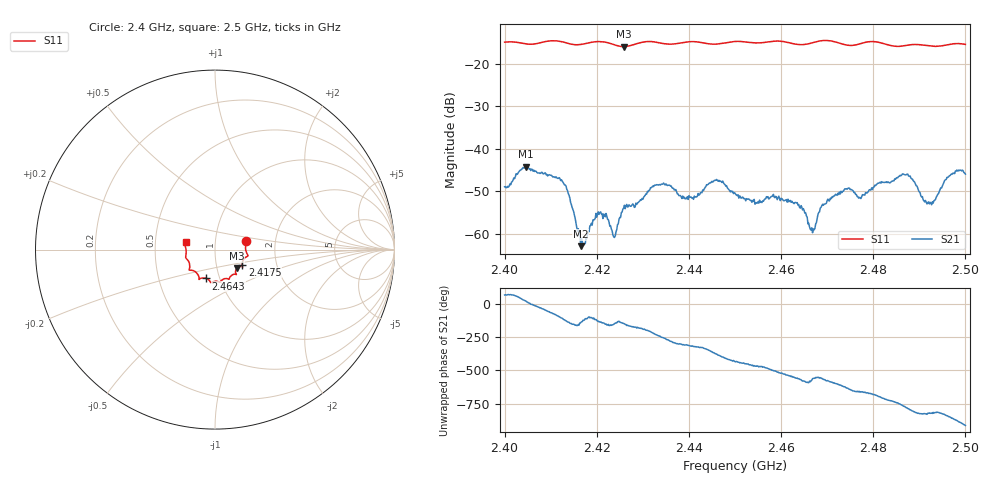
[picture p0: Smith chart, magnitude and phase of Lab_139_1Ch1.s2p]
# Hz S RI R 50
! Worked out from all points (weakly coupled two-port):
!   601 points, 2.4 GHz to 2.5 GHz, reference 50 ohm
!   highest |S21| = -44.23 dB at 2.4047 GHz (marker M1); lowest = -62.9 dB at 2.4165 GHz (marker M2)
!   lowest |S11| = -15.9 dB at 2.4258 GHz (marker M3), VSWR 1.38, Z = 62.3 - j13.2 ohm
!   |S11| at or under -10 dB: start of sweep to end of sweep
!   S12 and S22 are empty: the file has one direction only
!   S11 on the Smith chart (normalised r, x): 2.4 GHz: 1.41, +0.14; 2.4175 GHz: 1.33, -0.23; 2.4643 GHz: 0.86, -0.28; 2.5 GHz: 0.72, +0.06
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2.4e9  0.1734 0.049  0.00137 0.00331  0 0  0 0
2.404667e9  0.1709 0.0186  0.00579 0.00207  0 0  0 0
2.412833e9  0.1757 -0.0398  -0.00185 -0.00344  0 0  0 0
2.4165e9  0.1531 -0.0721  -0.000559 -0.000448  0 0  0 0
2.416667e9  0.1527 -0.0741  -0.000633 -0.000627  0 0  0 0
2.4175e9  0.1516 -0.0836  -0.000276 -0.000715  0 0  0 0
2.420667e9  0.1547 -0.0973  -0.00121 -0.0013  0 0  0 0
2.423833e9  0.139 -0.0942  -0.00077 -0.000477  0 0  0 0
2.425833e9  0.1219 -0.1032  -0.00167 -0.00111  0 0  0 0
2.433333e9  0.1134 -0.1371  -0.00197 0.00319  0 0  0 0
2.439333e9  0.0797 -0.1615  0.00159 0.00206  0 0  0 0
2.446e9  0.0474 -0.1642  0.00417 -0.00128  0 0  0 0
2.45e9  0.0288 -0.1814  0.000843 -0.00289  0 0  0 0
2.464333e9  -0.0499 -0.1607  -0.00187 0.00106  0 0  0 0
2.466667e9  -0.0762 -0.1589  -0.00099 0.000638  0 0  0 0
2.4715e9  -0.0881 -0.1605  -0.00168 0.00221  0 0  0 0
2.477e9  -0.1268 -0.1156  0.00127 0.00237  0 0  0 0
2.483333e9  -0.1406 -0.0897  0.00404 -0.000329  0 0  0 0
2.4875e9  -0.1579 -0.0521  0.00198 -0.00463  0 0  0 0
2.492167e9  -0.1611 -0.0235  -0.000358 -0.00222  0 0  0 0
2.4965e9  -0.1678 0.0244  -0.00297 -0.00378  0 0  0 0
2.5e9  -0.1642 0.0428  -0.00489 0.00123  0 0  0 0
